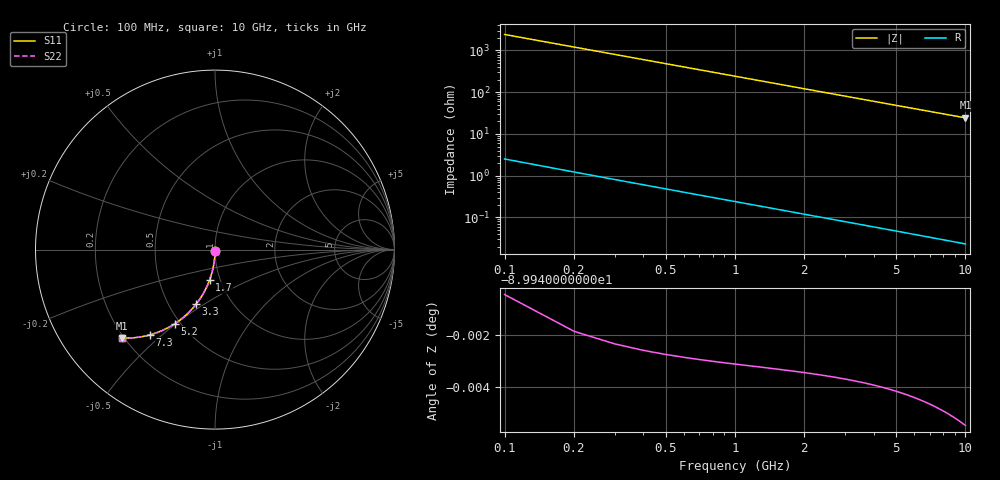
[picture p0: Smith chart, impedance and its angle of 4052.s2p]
# Hz S RI R 50.00
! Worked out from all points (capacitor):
!   100 points, 100 MHz to 10 GHz, reference 50 ohm
!   read as one part in shunt: C = 658 fF near 100 MHz
!   lowest |Z| = 24.4 ohm at 10 GHz (marker M1)
!   S11 on the Smith chart (normalised r, x): 100 MHz: 1.00, -0.02; 1.7 GHz: 0.89, -0.31; 3.3 GHz: 0.68, -0.46; 5.2 GHz: 0.47, -0.49; 7.3 GHz: 0.31, -0.46; 10 GHz: 0.19, -0.39
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1e8  -7.41e-05 -0.0103  0.9998 -0.0104  0.9998 -0.0104  -7.41e-05 -0.0103
2e8  -0.000404 -0.0205  0.9995 -0.0208  0.9995 -0.0208  -0.000404 -0.0205
3e8  -0.000947 -0.0308  0.999 -0.0312  0.999 -0.0312  -0.000947 -0.0308
4e8  -0.0017 -0.041  0.9982 -0.0415  0.9982 -0.0415  -0.0017 -0.041
5e8  -0.00267 -0.0512  0.9972 -0.0519  0.9972 -0.0519  -0.00267 -0.0512
6e8  -0.00385 -0.0613  0.9961 -0.0622  0.9961 -0.0622  -0.00385 -0.0613
8e8  -0.00682 -0.0815  0.9931 -0.0826  0.9931 -0.0826  -0.00682 -0.0815
1.1e9  -0.0128 -0.1114  0.9871 -0.113  0.9871 -0.113  -0.0128 -0.1114
1.4e9  -0.0206 -0.1406  0.9793 -0.1426  0.9793 -0.1426  -0.0206 -0.1406
1.7e9  -0.03 -0.1691  0.9699 -0.1715  0.9699 -0.1715  -0.03 -0.1691
1.8e9  -0.0335 -0.1784  0.9664 -0.181  0.9664 -0.181  -0.0335 -0.1784
2.1e9  -0.0451 -0.2056  0.9548 -0.2086  0.9548 -0.2086  -0.0451 -0.2056
2.5e9  -0.0627 -0.2402  0.9372 -0.2438  0.9372 -0.2438  -0.0627 -0.2402
3.3e9  -0.1043 -0.3029  0.8956 -0.3076  0.8956 -0.3076  -0.1043 -0.3029
3.4e9  -0.11 -0.3101  0.8899 -0.3149  0.8899 -0.3149  -0.11 -0.3101
4.2e9  -0.1586 -0.3619  0.8413 -0.3679  0.8413 -0.3679  -0.1586 -0.3619
5.1e9  -0.2174 -0.4084  0.7824 -0.4157  0.7824 -0.4157  -0.2174 -0.4084
5.2e9  -0.2241 -0.4128  0.7758 -0.4202  0.7758 -0.4202  -0.2241 -0.4128
6.7e9  -0.324 -0.4627  0.6758 -0.4723  0.6758 -0.4723  -0.324 -0.4627
7.3e9  -0.3626 -0.4751  0.6372 -0.4855  0.6372 -0.4855  -0.3626 -0.4751
8.4e9  -0.4297 -0.4885  0.5702 -0.5006  0.5702 -0.5006  -0.4297 -0.4885
1e10  -0.5164 -0.492  0.4834 -0.5064  0.4834 -0.5064  -0.5164 -0.492
